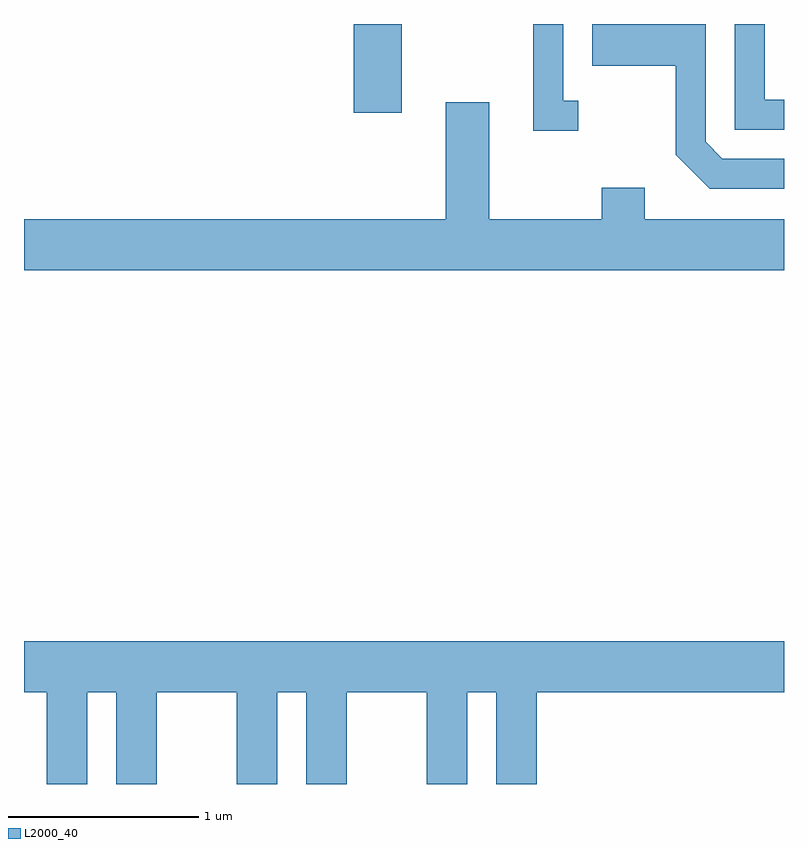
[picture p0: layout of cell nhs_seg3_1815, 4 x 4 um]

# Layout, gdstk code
import gdstk
lib = gdstk.Library(unit=1e-6, precision=1e-09)
def R(c, l, rs):  # rectangles x0, y0, x1, y1
    for r in rs: c.add(gdstk.rectangle(r[:2], r[2:], *l))
def P(c, l, *ps):  # polygons
    for p in ps: c.add(gdstk.Polygon(p, *l))
L2000_40 = (2000, 40)

nhs_seg3_1815 = lib.new_cell('nhs_seg3_1815')
R(nhs_seg3_1815, L2000_40, [(239.346,1213.426,239.599,1213.892)])
P(nhs_seg3_1815, L2000_40, [(241.611,1213.494),(241.509,1213.494),(241.509,1213.892),(241.351,1213.892),(241.351,1213.336),(241.611,1213.336)],
  [(240.528,1213.489),(240.449,1213.489),(240.449,1213.892),(240.291,1213.892),(240.291,1213.331),(240.528,1213.331)],
  [(241.611,1213.184),(241.287,1213.184),(241.199,1213.272),(241.199,1213.892),(240.601,1213.892),(240.601,1213.671),(241.041,1213.671),(241.041,1213.204),(241.219,1213.026),(241.611,1213.026)],
  [(241.611,1212.864),(240.879,1212.864),(240.879,1213.029),(240.651,1213.029),(240.651,1212.864),(240.059,1212.864),(240.059,1213.479),(239.831,1213.479),(239.831,1212.864),(237.611,1212.864),(237.611,1212.596),(241.611,1212.596)],
  [(237.944,1210.376),(238.096,1210.376),(238.096,1209.892),(238.309,1209.892),(238.309,1210.376),(238.731,1210.376),(238.731,1209.892),(238.944,1209.892),(238.944,1210.376),(239.096,1210.376),(239.096,1209.892),(239.309,1209.892),(239.309,1210.376),(239.731,1210.376),(239.731,1209.892),(239.944,1209.892),(239.944,1210.376),(240.096,1210.376),(240.096,1209.892),(240.309,1209.892),(240.309,1210.376),(241.611,1210.376),(241.611,1210.644),(237.611,1210.644),(237.611,1210.376),(237.731,1210.376),(237.731,1209.892),(237.944,1209.892)])

lib.write_gds('nhs_seg3_1815.gds')
